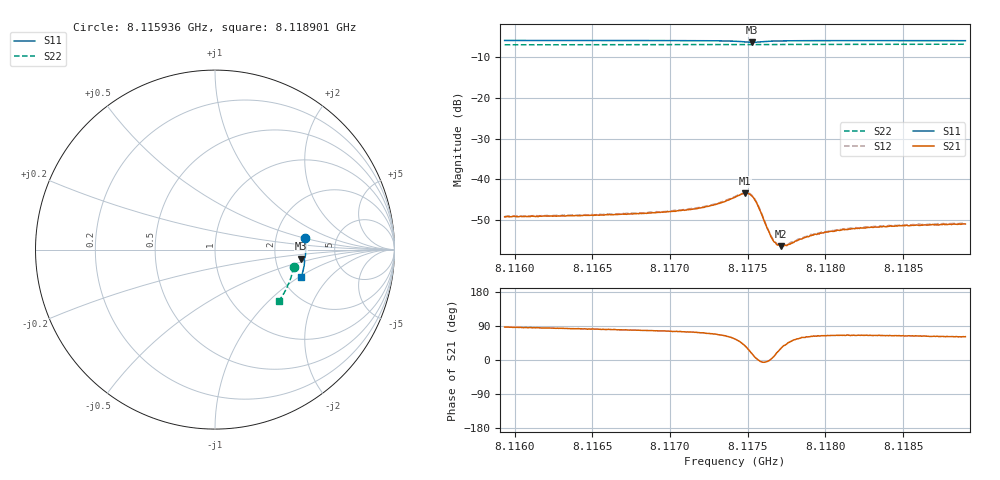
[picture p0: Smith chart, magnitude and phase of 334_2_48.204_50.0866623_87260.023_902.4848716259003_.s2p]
#  HZ  S  RI  R  50.00
! Rohde & Schwarz Vector Network Analyzer
! Rohde-Schwarz,ZNB20-2Port,1311601062101988,3.16
! Created: UTC 3/20/2024, 11:51:01 AM
! freq[Hz]  re:S11  im:S11  re:S21  im:S21  re:S12  im:S12  re:S22  im:S22
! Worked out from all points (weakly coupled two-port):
!   401 points, 8.115936 GHz to 8.118901 GHz, reference 50 ohm
!   highest |S21| = -43.39 dB at 8.117485 GHz (marker M1); lowest = -56.4 dB at 8.117715 GHz (marker M2)
!   lowest |S11| = -6.3 dB at 8.11753 GHz (marker M3), VSWR 2.86, Z = 140 - j18.4 ohm
!   |S11| at or under -10 dB: nowhere
!   |S22| runs from -7.0 to -6.8 dB; largest |S21 - S12| = 0.00017
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8.1159358e9  0.5036 0.0629  0.000185 0.00347  0.000242 0.00355  0.4378 -0.0969
8.1164325e9  0.5061 0.0255  0.000487 0.00358  0.000533 0.00359  0.4303 -0.1305
8.1169292e9  0.5056 -0.0124  0.000897 0.00385  0.000915 0.0039  0.4204 -0.1636
8.1170997e9  0.5044 -0.0262  0.00116 0.00404  0.00125 0.00411  0.4163 -0.1749
8.117211e9  0.503 -0.0358  0.00142 0.00431  0.00156 0.00438  0.4134 -0.1821
8.1173073e9  0.5006 -0.0446  0.00196 0.00464  0.00205 0.0047  0.4109 -0.1884
8.1174185e9  0.4934 -0.0557  0.00343 0.00498  0.00356 0.00504  0.4075 -0.1956
8.1174853e9  0.4831 -0.0575  0.00545 0.00402  0.00557 0.00401  0.4053 -0.1996
8.1175075e9  0.48 -0.0547  0.00597 0.00299  0.00612 0.00298  0.4046 -0.2008
8.1175297e9  0.479 -0.0505  0.00598 0.00167  0.00611 0.00164  0.4039 -0.2018
8.1175446e9  0.4798 -0.0476  0.00561 0.000828  0.00576 0.000815  0.4036 -0.2026
8.1175668e9  0.4831 -0.0447  0.00473 1.88e-05  0.00483 -4.59e-05  0.4031 -0.2039
8.1176335e9  0.4935 -0.0474  0.00236 -0.000103  0.00237 -0.000144  0.4017 -0.2081
8.1176558e9  0.4955 -0.0499  0.00189 0.000144  0.00195 0.000138  0.4011 -0.2096
8.117678e9  0.4969 -0.0526  0.00163 0.000401  0.00165 0.000405  0.4006 -0.2112
8.1177002e9  0.4978 -0.0549  0.00143 0.00065  0.00144 0.00062  0.4 -0.2126
8.1177151e9  0.4981 -0.0567  0.0013 0.000784  0.00133 0.000772  0.3994 -0.2136
8.1177596e9  0.4989 -0.0614  0.00112 0.00114  0.00115 0.00117  0.3981 -0.2164
8.1179152e9  0.4986 -0.0759  0.000968 0.00183  0.000985 0.00183  0.3932 -0.2264
8.118108e9  0.4964 -0.0916  0.00102 0.00219  0.00105 0.0022  0.387 -0.2383
8.118412e9  0.4915 -0.1147  0.00114 0.00241  0.00117 0.00247  0.376 -0.2567
8.1189012e9  0.4815 -0.1501  0.00135 0.0025  0.00143 0.00252  0.3567 -0.285
